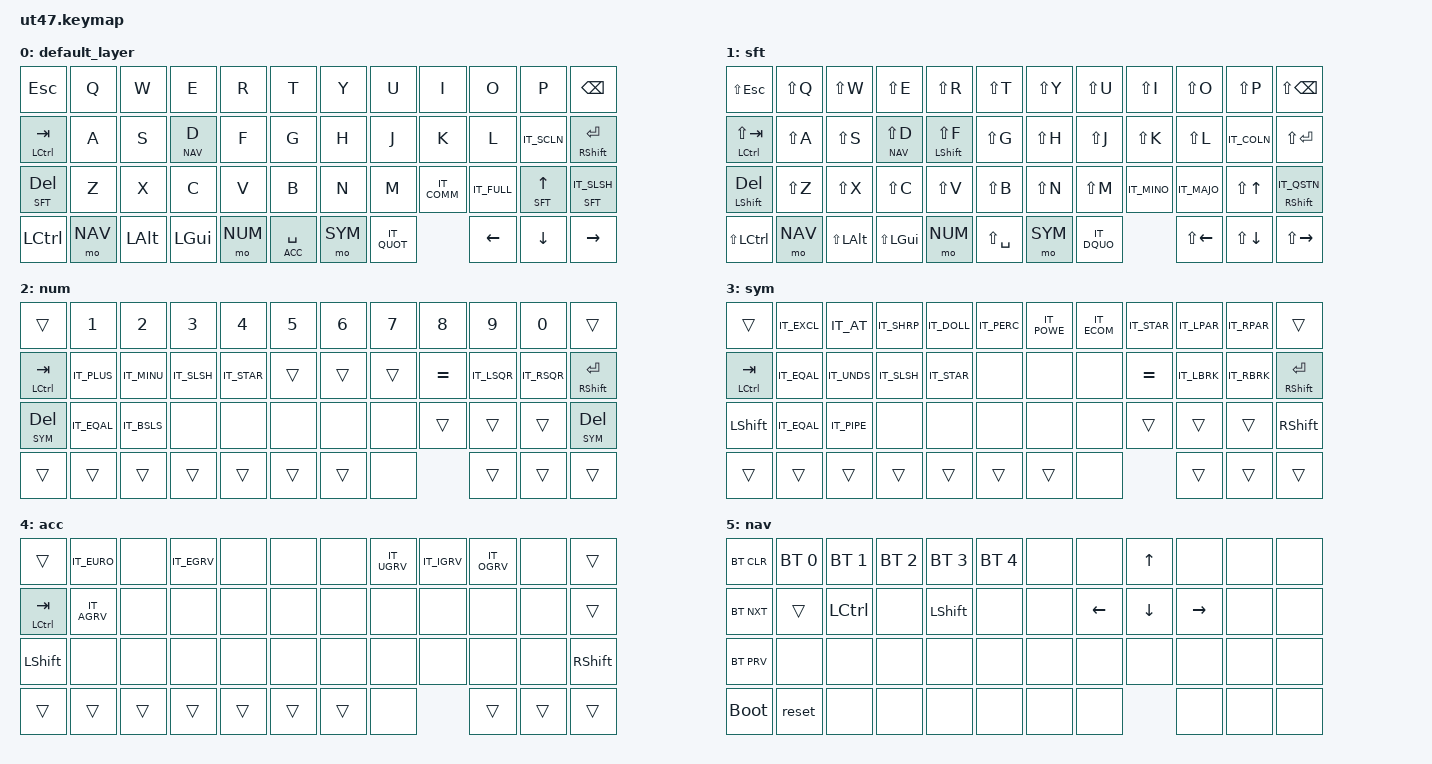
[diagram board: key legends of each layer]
/*
 * Copyright (c) 2020 The ZMK Contributors
 *
 * SPDX-License-Identifier: MIT
 */

#include <behaviors.dtsi>
#include <dt-bindings/zmk/keys.h>
#include <dt-bindings/zmk/bt.h>
#include "ansi_italian_remapping.h"


#define DEFAULT 0
#define SFT     1
#define NUM     2
#define SYM     3
#define ACC     4
#define NAV     5

/ {
    keymap {
        compatible = "zmk,keymap";

        default_layer {
            bindings = <
    &kp ESC       &kp Q      &kp W       &kp E       &kp R       &kp T       &kp Y       &kp U       &kp I       &kp O       &kp P        &kp BSPC
    &mt LCTRL TAB &kp A      &kp S       &lt NAV D   &kp F       &kp G       &kp H       &kp J       &kp K       &kp L       &kp IT_SCLN  &mt RSHFT RET
    &lt SFT DEL   &kp Z      &kp X       &kp C       &kp V       &kp B       &kp N       &kp M       &kp IT_COMM &kp IT_FULL &lt SFT UP   &lt SFT IT_SLSH
    &kp LCTRL     &mo NAV    &kp LALT    &kp LGUI    &mo NUM     &lt ACC SPACE   &mo SYM     &kp IT_QUOT     &kp LEFT    &kp DOWN    &kp RIGHT
            >;
        };

        sft {
            bindings = <
    &kp LS(ESC)       &kp LS(Q)      &kp LS(W)      &kp LS(E)       &kp LS(R)       &kp LS(T)       &kp LS(Y)       &kp LS(U)       &kp LS(I)       &kp LS(O)       &kp LS(P)     &kp LS(BSPC)
    &mt LCTRL LS(TAB) &kp LS(A)      &kp LS(S)      &lt NAV LS(D)   &mt LSHFT LS(F) &kp LS(G)       &kp LS(H)       &kp LS(J)       &kp LS(K)       &kp LS(L)       &kp IT_COLN   &kp LS(RET)
    &mt LSHFT DEL     &kp LS(Z)      &kp LS(X)      &kp LS(C)       &kp LS(V)       &kp LS(B)       &kp LS(N)       &kp LS(M)       &kp IT_MINO     &kp IT_MAJO     &kp LS(UP)    &mt RSHFT IT_QSTN
    &kp LS(LCTRL)     &mo NAV        &kp LS(LALT)   &kp LS(LGUI)    &mo NUM         &kp LS(SPACE)   &mo SYM         &kp IT_DQUO     &kp LS(LEFT)    &kp LS(DOWN)     &kp LS(RIGHT)
            >;
        };

    num {
            bindings = <
    &trans        &kp N1      &kp N2      &kp N3      &kp N4      &kp N5     &kp N6     &kp N7     &kp N8      &kp N9      &kp N0      &trans
    &mt LCTRL TAB &kp IT_PLUS &kp IT_MINU &kp IT_SLSH &kp IT_STAR &trans     &trans     &trans     &kp EQUAL   &kp IT_LSQR &kp IT_RSQR &mt RSHFT RET
    &lt SYM DEL   &kp IT_EQAL &kp IT_BSLS &none       &none       &none      &none      &none      &trans      &trans      &trans      &lt SYM DEL
    &trans        &trans      &trans      &trans      &trans           &trans           &trans     &none       &trans      &trans      &trans
            >;
        };

    sym {
            bindings = <
    &trans        &kp IT_EXCL &kp IT_AT   &kp IT_SHRP &kp IT_DOLL &kp IT_PERC &kp IT_POWE &kp IT_ECOM &kp IT_STAR &kp IT_LPAR &kp IT_RPAR &trans
    &mt LCTRL TAB &kp IT_EQAL &kp IT_UNDS &kp IT_SLSH &kp IT_STAR &none       &none       &none       &kp EQUAL   &kp IT_LBRK &kp IT_RBRK &mt RSHFT RET
    &kp LSHFT     &kp IT_EQAL &kp IT_PIPE &none       &none       &none       &none       &none       &trans      &trans      &trans      &kp RSHFT
    &trans        &trans      &trans      &trans      &trans             &trans           &trans      &none       &trans      &trans      &trans
            >;
        };

    acc {
            bindings = <
    &trans        &kp IT_EURO  &none        &kp IT_EGRV  &none        &none        &none   &kp IT_UGRV &kp IT_IGRV &kp IT_OGRV &none    &trans
    &mt LCTRL TAB &kp IT_AGRV  &none        &none        &none        &none        &none   &none       &none       &none       &none    &trans
    &kp LSHFT     &none        &none        &none        &none        &none        &none   &none       &none       &none       &none    &kp RSHFT
    &trans        &trans       &trans       &trans       &trans           &trans              &trans      &none       &trans      &trans   &trans
            >;
        };

    nav {
            bindings = <
    &bt BT_CLR   &bt BT_SEL 0 &bt BT_SEL 1 &bt BT_SEL 2 &bt BT_SEL 3 &bt BT_SEL 4 &none   &none      &kp UP     &none       &none   &none
    &bt BT_NXT   &trans       &kp LCTRL    &none        &kp LSHFT    &none        &none   &kp LEFT   &kp DOWN   &kp RIGHT   &none   &none
    &bt BT_PRV   &none        &none        &none        &none        &none        &none   &none      &none      &none       &none   &none
    &bootloader  &reset       &none        &none        &none               &none         &none      &none      &none       &none   &none
            >;
        };
    };
};
